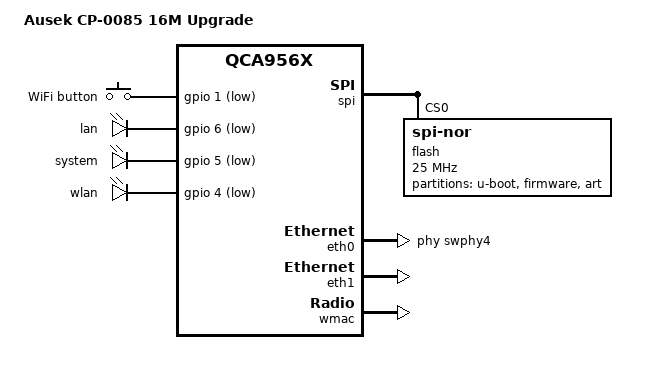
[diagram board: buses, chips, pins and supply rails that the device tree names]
// SPDX-License-Identifier: GPL-2.0-or-later OR MIT

#include <dt-bindings/leds/common.h>

#include "qca956x.dtsi"

#include <dt-bindings/gpio/gpio.h>
#include <dt-bindings/input/input.h>

/ {
	aliases {
		label-mac-device = &wmac;
	};
};

&spi {
	status = "okay";

	flash@0 {
		compatible = "jedec,spi-nor";
		reg = <0>;
		spi-max-frequency = <25000000>;

		partitions {
			compatible = "fixed-partitions";
			#address-cells = <1>;
			#size-cells = <1>;

			uboot: partition@0 {
				label = "u-boot";
				reg = <0x000000 0x020000>;
				read-only;

				nvmem-layout {
					compatible = "fixed-layout";
					#address-cells = <1>;
					#size-cells = <1>;

					macaddr_uboot_1fc00: macaddr@1fc00 {
						compatible = "mac-base";
						reg = <0x1fc00 0x6>;
						#nvmem-cell-cells = <1>;
					};
				};
			};

			partition@20000 {
				compatible = "tplink,firmware";
				label = "firmware";
				reg = <0x020000 0xfd0000>;
			};

			partition@ff0000 {
				label = "art";
				reg = <0xff0000 0x010000>;
				read-only;

				nvmem-layout {
					compatible = "fixed-layout";
					#address-cells = <1>;
					#size-cells = <1>;

					cal_art_1000: calibration@1000 {
						reg = <0x1000 0x440>;
					};
				};
			};
		};
	};
};

&eth0 {
	status = "okay";

	phy-handle = <&swphy4>;

	nvmem-cells = <&macaddr_uboot_1fc00 1>;
	nvmem-cell-names = "mac-address";
};

&eth1 {
	status = "okay";

	nvmem-cells = <&macaddr_uboot_1fc00 (-1)>;
	nvmem-cell-names = "mac-address";
};

&wmac {
	status = "okay";

	nvmem-cells = <&macaddr_uboot_1fc00 0>, <&cal_art_1000>;
	nvmem-cell-names = "mac-address", "calibration";
};

/ {
	keys {
		compatible = "gpio-keys";

		wifi {
			label = "WiFi button";
			linux,code = <KEY_RFKILL>;
			gpios = <&gpio 1 GPIO_ACTIVE_LOW>;
		};
	};
};

/ {
	aliases {
		led-boot = &led_system;
		led-failsafe = &led_system;
		led-running = &led_system;
		led-upgrade = &led_system;
	};

	leds {
		compatible = "gpio-leds";

		lan {
			label = "lan";
			gpios = <&gpio 6 GPIO_ACTIVE_LOW>;
		};

		led_system: system {
			label = "system";
			gpios = <&gpio 5 GPIO_ACTIVE_LOW>;
		};

		wlan {
			function = LED_FUNCTION_WLAN;
			gpios = <&gpio 4 GPIO_ACTIVE_LOW>;
			linux,default-trigger = "phy0tpt";
		};
	};
};

/ {
	compatible = "ausek,cp-0085-16meg", "qca,tp9343";
	model = "Ausek CP-0085 16M Upgrade";
};
